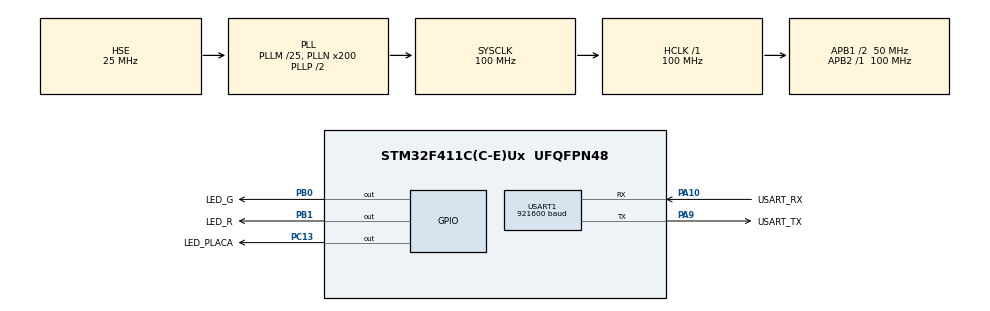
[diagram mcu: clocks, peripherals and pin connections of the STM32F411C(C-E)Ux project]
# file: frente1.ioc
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Dma.Request0=USART1_RX
Dma.USART1_RX.0.Direction=DMA_PERIPH_TO_MEMORY
Dma.USART1_RX.0.FIFOMode=DMA_FIFOMODE_DISABLE
Dma.USART1_RX.0.Instance=DMA2_Stream2
Dma.USART1_RX.0.MemDataAlignment=DMA_MDATAALIGN_BYTE
Dma.USART1_RX.0.MemInc=DMA_MINC_ENABLE
Dma.USART1_RX.0.Mode=DMA_CIRCULAR
Dma.USART1_RX.0.PeriphDataAlignment=DMA_PDATAALIGN_BYTE
Dma.USART1_RX.0.PeriphInc=DMA_PINC_DISABLE
Dma.USART1_RX.0.Priority=DMA_PRIORITY_LOW
Mcu.Family=STM32F4
Mcu.Name=STM32F411C(C-E)Ux
Mcu.Package=UFQFPN48
NVIC.DMA2_Stream2_IRQn=true\:0\:0\:false\:false\:true\:false\:true\:true
NVIC.PriorityGroup=NVIC_PRIORITYGROUP_4
NVIC.USART1_IRQn=true\:0\:0\:false\:false\:true\:true\:true\:true
PA10.GPIO_Label=USART_RX
PA10.Mode=Asynchronous
PA10.Signal=USART1_RX
PA13.Mode=Serial_Wire
PA13.Signal=SYS_JTMS-SWDIO
PA14.Mode=Serial_Wire
PA14.Signal=SYS_JTCK-SWCLK
PA9.GPIO_Label=USART_TX
PA9.Mode=Asynchronous
PA9.Signal=USART1_TX
PB0.GPIO_Label=LED_G
PB0.PinState=GPIO_PIN_RESET
PB0.Signal=GPIO_Output
PB1.GPIO_Label=LED_R
PB1.PinState=GPIO_PIN_RESET
PB1.Signal=GPIO_Output
PC13-ANTI_TAMP.GPIO_Label=LED_PLACA
PC13-ANTI_TAMP.PinState=GPIO_PIN_SET
PC13-ANTI_TAMP.Signal=GPIO_Output
PH0\ -\ OSC_IN.Mode=HSE-External-Oscillator
PH0\ -\ OSC_IN.Signal=RCC_OSC_IN
PH1\ -\ OSC_OUT.Mode=HSE-External-Oscillator
PH1\ -\ OSC_OUT.Signal=RCC_OSC_OUT
ProjectManager.HeapSize=0x200
ProjectManager.StackSize=0x1000
ProjectManager.TargetToolchain=CMake
RCC.48MHZClocksFreq_Value=50000000
RCC.AHBFreq_Value=100000000
RCC.APB1CLKDivider=RCC_HCLK_DIV2
RCC.APB1Freq_Value=50000000
RCC.APB1TimFreq_Value=100000000
RCC.APB2Freq_Value=100000000
RCC.APB2TimFreq_Value=100000000
RCC.CortexFreq_Value=100000000
RCC.HCLKFreq_Value=100000000
RCC.HSE_VALUE=25000000
RCC.HSI_VALUE=16000000
RCC.LSE_VALUE=32768
RCC.PLLM=25
RCC.PLLN=200
RCC.PLLSourceVirtual=RCC_PLLSOURCE_HSE
RCC.SYSCLKFreq_VALUE=100000000
RCC.SYSCLKSource=RCC_SYSCLKSOURCE_PLLCLK
RCC.VCOOutputFreq_Value=200000000
USART1.BaudRate=921600
USART1.VirtualMode=VM_ASYNC
board=custom

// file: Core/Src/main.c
/* USER CODE BEGIN Header */
/**
  ******************************************************************************
  * @file           : main.c
  * @brief          : Main program body
  ******************************************************************************
  * @attention
  *
  * Copyright (c) 2026 STMicroelectronics.
  * All rights reserved.
  *
  * This software is licensed under terms that can be found in the LICENSE file
  * in the root directory of this software component.
  * If no LICENSE file comes with this software, it is provided AS-IS.
  *
  ******************************************************************************
  */
/* USER CODE END Header */
#include "main.h"
#include "dma.h"
#include "usart.h"
#include "gpio.h"

/* USER CODE BEGIN Includes */
#include <stdio.h>
#include "arm_math.h"
#include "marco_lda.h"
#include "cadeia_clipes.h"
#include "decimacao.h"
#include "recepcao_serial.h"
#ifdef FIRMWARE_BLOCOS13
#include "blocos13.h"
#endif
#ifdef FIRMWARE_VALIDACAO_PLACA
#include "validacao_placa.h"
#endif
#ifdef FIRMWARE_ORCAMENTO
#include "orcamento.h"
#endif
/* USER CODE END Includes */

/* USER CODE BEGIN PD */
#define FFT_LEN 512U
#define FFT_BIN 32U

/* USER CODE END PD */

/* USER CODE BEGIN PV */
static arm_rfft_fast_instance_f32 fft;
static float32_t fft_in[FFT_LEN];
static float32_t fft_out[FFT_LEN];
static float32_t fft_mag[FFT_LEN / 2];

/* USER CODE END PV */

void SystemClock_Config(void);

/* USER CODE BEGIN 0 */
static void fft_fill_sine(void)
{
  for (uint32_t n = 0; n < FFT_LEN; n++)
  {
    fft_in[n] = arm_sin_f32(2.0f * PI * (float32_t)(FFT_BIN * n) / (float32_t)FFT_LEN);
  }
}

static void dwt_init(void)
{
  CoreDebug->DEMCR |= CoreDebug_DEMCR_TRCENA_Msk;
  DWT->CYCCNT = 0;
  DWT->CTRL |= DWT_CTRL_CYCCNTENA_Msk;
}

/* Teste da FFT da Frente 1: seno no bin 32, espera pico no bin 32 com magnitude 256,0 */
static void fft_teste(void)
{
  /* arm_rfft_fast_f32 overwrites its input, so regenerate it every run */
  fft_fill_sine();
  uint32_t t0 = DWT->CYCCNT;
  arm_rfft_fast_f32(&fft, fft_in, fft_out, 0);
  uint32_t cycles = DWT->CYCCNT - t0;

  /* out[0] = DC and out[1] = Nyquist (both real); bins 1..255 are re,im pairs */
  arm_cmplx_mag_f32(fft_out, fft_mag, FFT_LEN / 2);
  fft_mag[0] = fabsf(fft_out[0]);

  float32_t peak;
  uint32_t peak_bin;
  arm_max_f32(fft_mag, FFT_LEN / 2, &peak, &peak_bin);

  /* nano.specs printf has no %f: print fixed point by hand */
  uint32_t us_x10 = (uint32_t)(((uint64_t)cycles * 10U + SystemCoreClock / 2000000U) / (SystemCoreClock / 1000000U));
  uint32_t mag_x10 = (uint32_t)(peak * 10.0f + 0.5f);
  char line[80];
  int flen = snprintf(line, sizeof line, "fft512 ciclos=%lu us=%lu.%lu pico_bin=%lu mag=%lu.%lu\r\n",
                      (unsigned long)cycles,
                      (unsigned long)(us_x10 / 10U), (unsigned long)(us_x10 % 10U),
                      (unsigned long)peak_bin,
                      (unsigned long)(mag_x10 / 10U), (unsigned long)(mag_x10 % 10U));
  HAL_UART_Transmit(&huart1, (uint8_t *)line, flen, HAL_MAX_DELAY);
}

/* USER CODE END 0 */

int main(void)
{

  /* MCU Configuration--------------------------------------------------------*/

  /* Reset of all peripherals, Initializes the Flash interface and the Systick. */
  HAL_Init();

  /* Configure the system clock */
  SystemClock_Config();

  /* Initialize all configured peripherals */
  MX_GPIO_Init();
  MX_DMA_Init();
  MX_USART1_UART_Init();
  /* USER CODE BEGIN 2 */
  const char hello[] = "hello frente1\r\n";
  HAL_UART_Transmit(&huart1, (uint8_t *)hello, sizeof(hello) - 1, HAL_MAX_DELAY);

  dwt_init();
  arm_status fft_status = arm_rfft_fast_init_f32(&fft, FFT_LEN);
  char status_line[32];
  int slen = snprintf(status_line, sizeof status_line, "fft_init status=%d\r\n", (int)fft_status);
  HAL_UART_Transmit(&huart1, (uint8_t *)status_line, slen, HAL_MAX_DELAY);
  fft_teste();

#ifdef FIRMWARE_BLOCOS13
  /* Blocos 1 a 3 (janela, espectro e Mel) nos segmentos de referencia: ciclos pelo
   * DWT e a saida de cada bloco pela serial, para o receber_blocos13.py. Cerca de
   * 100 s a 115200 baud (o padrao ate 03/11; a 921.600, ainda nao medido); o marco vem depois. */
  blocos13_executar();
#endif

#ifdef FIRMWARE_VALIDACAO_PLACA
  /* Validacao do segmento completo: mfcc_segmento() e lda_escore() nos 10 segmentos
   * dos clipes, com as 26 caracteristicas e o escore pela serial, para o
   * validar_blocos.py --placa. Menos de 1 s. */
  validacao_placa_executar();
#endif

#ifdef FIRMWARE_ORCAMENTO
  /* Build de medida (-DORCAMENTO=ON): poe no link o que o build padrao ainda nao
   * usa, sem executar nada, para medir pelo .map (tools/orcamento_memoria.py).
   * Ver orcamento.h. */
  orcamento_referenciar();
#endif

  /* Marco de 13/10: LDA com as caracteristicas de referencia do Python */
  const int marco_ok = marco_lda_verificar();

  /* Cadeia completa (20/10): mfcc_segmento() e lda_escore() nos 10 segmentos dos
   * clipes da flash, conferidos com o escores_referencia.csv, com os ciclos de cada
   * bloco pelo DWT. Cerca de 1,3 s. Ver cadeia_clipes.h. */
  const int cadeia_ok = cadeia_verificar();

  /* Decimacao embarcada (bloco 0, 20/10): o recorte de 1 s a 51,2 kHz pelo
   * arm_fir_decimate_f32 (147 coeficientes, fator 4) e pela cadeia, quadro a
   * quadro, comparado com o int16 do Python e com o escore de referencia do
   * recorte. Ciclos pelo DWT. Duas decimacoes e a cadeia: a duracao sai na linha
   * DECIMACAO OK. Ver decimacao.h. */
  const int decimacao_ok = decimacao_verificar();
  const int tudo_ok = marco_ok && cadeia_ok && decimacao_ok;

  /* Primeira inferencia de ponta a ponta (22/10): cada volta do laco comeca pelo
   * recorte de 51,2 kHz, decimado e passado pela cadeia ate o escore ($SEG de
   * origem D), e segue pelos 10 segmentos dos clipes (origem C). */
  int nova_volta = 1;

  /* Recepcao de segmentos pela serial (30/10): a UART fica escutando durante a
   * demonstracao; um "RECEBER" do PC troca a demonstracao pelo modo de recepcao,
   * de onde so se sai por reset. Ver recepcao_serial.h. */
  recepcao_serial_escutar();
  /* USER CODE END 2 */

  /* Infinite loop */
  while (1)
  {

    /* USER CODE BEGIN 3 */
    /* Demonstracao: a cadeia roda de novo em cada segmento dos clipes (origem C no
     * $SEG). Trava de proposito nas TRES conferencias: se o marco falhar (LDA ou
     * cabecalhos do modelo incoerentes), os LEDs mostram o padrao de erro mesmo com
     * a CADEIA OK, porque a demonstracao usa o mesmo lda_escore(); e se a
     * decimacao falhar, o firmware gravado tem um erro de porte que so a serial
     * mostraria, e numa demonstracao ninguem esta olhando a serial. A mesma trava
     * vale para o caminho decimado (origem D), que o decimacao_passo() roda no
     * comeco de cada volta. */
    /* O PC pediu o modo de recepcao: confere entre um segmento e outro (cada um
     * leva ~2,3 s; o PC repete o RECEBER a cada 1 s). Com tudo_ok == 0, a placa
     * recusa e a demonstracao continua piscando o erro. */
    if (recepcao_serial_pedido()) {
      recepcao_serial_executar(tudo_ok);
    }
    if (nova_volta) {
      decimacao_passo(tudo_ok);
    }
    nova_volta = cadeia_passo(tudo_ok);
  }
  /* USER CODE END 3 */
}

void SystemClock_Config(void)
{
  RCC_OscInitTypeDef RCC_OscInitStruct = {0};
  RCC_ClkInitTypeDef RCC_ClkInitStruct = {0};

  /** Configure the main internal regulator output voltage
  */
  __HAL_RCC_PWR_CLK_ENABLE();
  __HAL_PWR_VOLTAGESCALING_CONFIG(PWR_REGULATOR_VOLTAGE_SCALE1);

  /** Initializes the RCC Oscillators according to the specified parameters
  * in the RCC_OscInitTypeDef structure.
  */
  RCC_OscInitStruct.OscillatorType = RCC_OSCILLATORTYPE_HSE;
  RCC_OscInitStruct.HSEState = RCC_HSE_ON;
  RCC_OscInitStruct.PLL.PLLState = RCC_PLL_ON;
  RCC_OscInitStruct.PLL.PLLSource = RCC_PLLSOURCE_HSE;
  RCC_OscInitStruct.PLL.PLLM = 25;
  RCC_OscInitStruct.PLL.PLLN = 200;
  RCC_OscInitStruct.PLL.PLLP = RCC_PLLP_DIV2;
  RCC_OscInitStruct.PLL.PLLQ = 4;
  if (HAL_RCC_OscConfig(&RCC_OscInitStruct) != HAL_OK)
  {
    Error_Handler();
  }

  /** Initializes the CPU, AHB and APB buses clocks
  */
  RCC_ClkInitStruct.ClockType = RCC_CLOCKTYPE_HCLK|RCC_CLOCKTYPE_SYSCLK
                              |RCC_CLOCKTYPE_PCLK1|RCC_CLOCKTYPE_PCLK2;
  RCC_ClkInitStruct.SYSCLKSource = RCC_SYSCLKSOURCE_PLLCLK;
  RCC_ClkInitStruct.AHBCLKDivider = RCC_SYSCLK_DIV1;
  RCC_ClkInitStruct.APB1CLKDivider = RCC_HCLK_DIV2;
  RCC_ClkInitStruct.APB2CLKDivider = RCC_HCLK_DIV1;

  if (HAL_RCC_ClockConfig(&RCC_ClkInitStruct, FLASH_LATENCY_3) != HAL_OK)
  {
    Error_Handler();
  }
}

void Error_Handler(void)
{
  __disable_irq();
  while (1)
  {
  }
}
